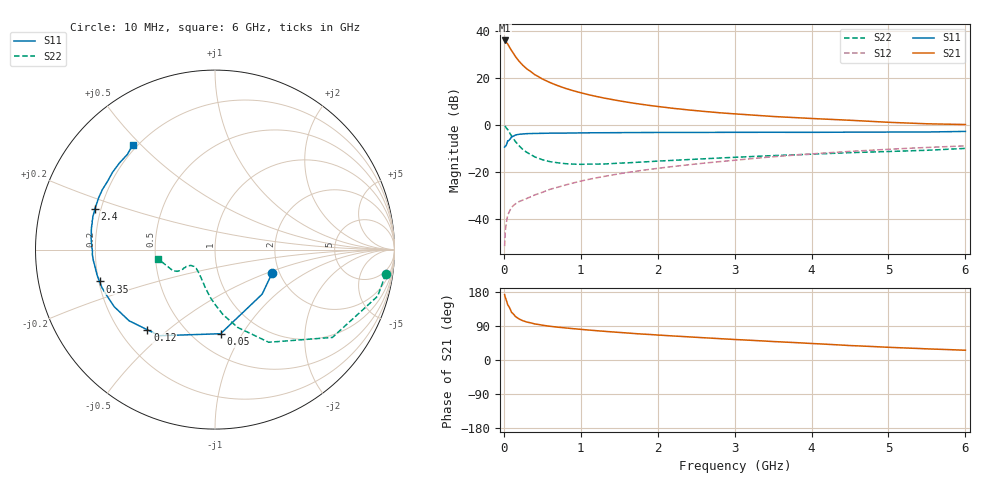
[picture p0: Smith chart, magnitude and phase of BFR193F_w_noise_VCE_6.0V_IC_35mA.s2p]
! Infineon Technologies  Discrete & RF Semiconductors
! BFR193F
! VCE =  6.0 V,  IC =  35 mA
! Common Emitter S-Parameters:  Jan 2017
# GHz  S  MA  R  50
!  f  S11  S21  S12  S22
! GHz  MAG  ANG  MAG  ANG  MAG  ANG  MAG  ANG
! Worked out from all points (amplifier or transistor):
!   77 points, 10 MHz to 6 GHz, reference 50 ohm
!   highest |S21| = 36.1 dB at 10 MHz (marker M1)
!   |S21| within 3 dB of that: start of sweep to 76.55 MHz
!   unconditionally stable (mu >= 1): 1.096 GHz to 2.621 GHz
!   at 130 MHz: K = 0.40, MSG = 32.1 dB, |S12| = -33.9 dB
!   at 2.2 GHz: K = 1.02, MAG = 11.6 dB, |S12| = -17.5 dB
!   at 6 GHz: K = 0.86, MSG = 4.5 dB, |S12| = -8.7 dB
!   lowest NFmin = 1.26 dB at 450 MHz
!   S11 on the Smith chart (normalised r, x): 10 MHz: 1.84, -0.53; 50 MHz: 0.67, -0.81; 120 MHz: 0.31, -0.43; 350 MHz: 0.20, -0.13; 2.4 GHz: 0.18, +0.16; 6 GHz: 0.18, +0.47
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0.01  0.3444 -21.8  63.55 172.4  0.0027 81.7  0.9616 -8.1
0.02  0.3614 -43.4  61.97 164.7  0.0059 78.1  0.9424 -16.0
0.05  0.4698 -86.2  53.51 146.0  0.0122 63.7  0.817 -36.8
0.1  0.5708 -122.8  38.78 125.8  0.0181 55.0  0.5966 -59.9
0.12  0.5844 -130.1  34.73 122.2  0.0194 52.8  0.5354 -64.5
0.15  0.6215 -140.3  29 114.9  0.0214 50.1  0.4522 -73.7
0.2  0.6452 -150.4  22.79 108.0  0.024 49.9  0.3655 -82.9
0.25  0.6552 -157.1  18.61 103.4  0.0259 51.3  0.3033 -90.3
0.3  0.6647 -161.5  15.76 100.1  0.0279 54.2  0.2652 -96.0
0.35  0.6674 -164.6  13.86 98.0  0.0304 55.8  0.2389 -100.2
0.4  0.672 -167.7  11.98 95.2  0.033 57.2  0.2141 -105.3
0.5  0.6753 -171.9  9.665 91.9  0.0376 59.9  0.1856 -112.6
0.6  0.6805 -174.9  8.105 89.0  0.0436 63.0  0.1688 -119.0
0.8  0.6831 -179.5  6.103 84.7  0.0538 66.5  0.1529 -128.8
1.1  0.6923 175.2  4.474 79.1  0.0707 69.6  0.1495 -137.7
1.5  0.6987 170.2  3.314 72.8  0.0934 71.4  0.157 -144.9
2.1  0.7049 163.9  2.404 64.7  0.1274 72.1  0.1767 -148.9
2.4  0.7067 161.3  2.121 61.1  0.1446 71.8  0.187 -149.5
3.1  0.7096 155.4  1.707 53.1  0.1874 70.8  0.2124 -148.7
4.1  0.71 146.6  1.372 42.6  0.2531 67.2  0.2468 -150.8
5.1  0.7185 136.8  1.141 32.7  0.3152 61.8  0.2808 -160.6
6  0.7417 128.2  1.039 25.8  0.3654 56.7  0.3229 -170.6
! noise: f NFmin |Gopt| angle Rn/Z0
0.45  1.26  0.42  178  0.06
0.9  1.35  0.44  178  0.07
1.9  1.9  0.58  -166  0.08
2.4  2.2  0.61  -157  0.12
